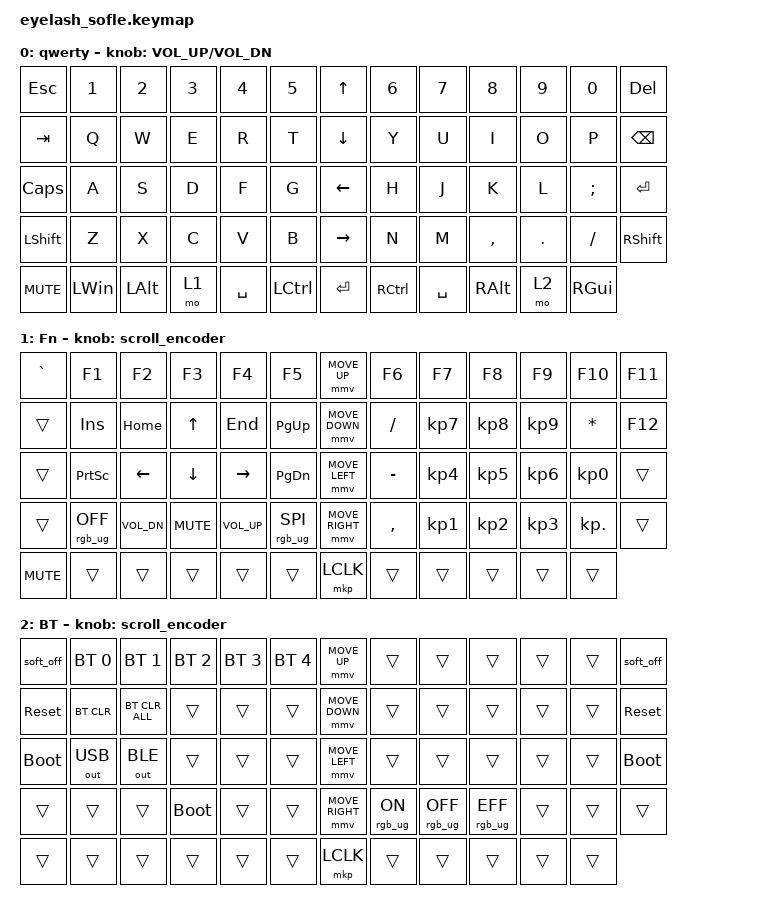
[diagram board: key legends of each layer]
#define ZMK_POINTING_DEFAULT_MOVE_VAL 1200  // 600
#define ZMK_POINTING_DEFAULT_SCRL_VAL 25    // 10

#include <input/processors.dtsi>
#include <zephyr/dt-bindings/input/input-event-codes.h>
#include <behaviors.dtsi>
#include <dt-bindings/zmk/bt.h>
#include <dt-bindings/zmk/ext_power.h>
#include <dt-bindings/zmk/keys.h>
#include <dt-bindings/zmk/pointing.h>
#include <dt-bindings/zmk/rgb.h>
#include <dt-bindings/zmk/outputs.h>

&mmv_input_listener { input-processors = <&zip_xy_scaler 2 1>; };

&msc_input_listener { input-processors = <&zip_scroll_scaler 2 1>; };

&msc {
    acceleration-exponent = <1>;      // 0
    time-to-max-speed-ms = <100>;       // 300
    delay-ms = <0>;                   // 0
};

&mmv {
    time-to-max-speed-ms = <500>;
    acceleration-exponent = <1>;
    trigger-period-ms = <16>;
};

/ {
    scroll_encoder: scroll_encoder {
        compatible = "zmk,behavior-sensor-rotate";
        #sensor-binding-cells = <0>;
        bindings = <&msc SCRL_DOWN>, <&msc SCRL_UP>;

        tap-ms = <100>;
    };

    keymap {
        compatible = "zmk,keymap";

        layer0 {
            bindings = <
&kp ESC     &kp N1        &kp N2        &kp N3  &kp N4     &kp N5       &kp UP_ARROW     &kp N6     &kp N7     &kp N8     &kp N9   &kp N0    &kp DELETE
&kp TAB     &kp Q         &kp W         &kp E   &kp R      &kp T        &kp DOWN_ARROW   &kp Y      &kp U      &kp I      &kp O    &kp P     &kp BACKSPACE
&kp CAPS    &kp A         &kp S         &kp D   &kp F      &kp G        &kp LEFT_ARROW   &kp H      &kp J      &kp K      &kp L    &kp SEMI  &kp ENTER
&kp LSHFT   &kp Z         &kp X         &kp C   &kp V      &kp B        &kp RIGHT_ARROW  &kp N      &kp M      &kp COMMA  &kp DOT  &kp FSLH  &kp RIGHT_SHIFT
&kp C_MUTE  &kp LEFT_WIN  &kp LEFT_ALT  &mo 1   &kp SPACE  &kp LCTRL    &kp ENTER        &kp RCTRL  &kp SPACE  &kp RALT   &mo 2    &kp RGUI
            >;

            sensor-bindings = <&inc_dec_kp C_VOLUME_UP C_VOL_DN>;
            display-name = "qwerty";
        };

        layer_1 {
            bindings = <
&kp GRAVE   &kp F1           &kp F2          &kp F3          &kp F4           &kp F5             &mmv MOVE_UP     &kp F6     &kp F7     &kp F8     &kp F9           &kp F10       &kp F11
&trans      &kp INS          &kp HOME        &kp UP_ARROW    &kp END          &kp PG_UP          &mmv MOVE_DOWN   &kp SLASH  &kp KP_N7  &kp KP_N8  &kp KP_N9        &kp ASTERISK  &kp F12
&trans      &kp PSCRN        &kp LEFT_ARROW  &kp DOWN_ARROW  &kp RIGHT_ARROW  &kp PG_DN          &mmv MOVE_LEFT   &kp MINUS  &kp KP_N4  &kp KP_N5  &kp KP_N6        &kp KP_N0     &trans
&trans      &rgb_ug RGB_OFF  &kp C_VOL_DN    &kp C_MUTE      &kp C_VOLUME_UP  &rgb_ug RGB_SPI    &mmv MOVE_RIGHT  &kp COMMA  &kp KP_N1  &kp KP_N2  &kp KP_NUMBER_3  &kp KP_DOT    &trans
&kp C_MUTE  &trans           &trans          &trans          &trans           &trans             &mkp LCLK        &trans     &trans     &trans     &trans           &trans
            >;

            display-name = "Fn";
            sensor-bindings = <&scroll_encoder>;
        };

        layer_2 {
            bindings = <
&soft_off    &bt BT_SEL 0  &bt BT_SEL 1    &bt BT_SEL 2  &bt BT_SEL 3  &bt BT_SEL 4    &mmv MOVE_UP     &trans          &trans           &trans           &trans  &trans  &soft_off
&sys_reset   &bt BT_CLR    &bt BT_CLR_ALL  &trans        &trans        &trans          &mmv MOVE_DOWN   &trans          &trans           &trans           &trans  &trans  &sys_reset
&bootloader  &out OUT_USB  &out OUT_BLE    &trans        &trans        &trans          &mmv MOVE_LEFT   &trans          &trans           &trans           &trans  &trans  &bootloader
&trans       &trans        &trans          &bootloader   &trans        &trans          &mmv MOVE_RIGHT  &rgb_ug RGB_ON  &rgb_ug RGB_OFF  &rgb_ug RGB_EFF  &trans  &trans  &trans
&trans       &trans        &trans          &trans        &trans        &trans          &mkp LCLK        &trans          &trans           &trans           &trans  &trans
            >;

            display-name = "BT";
            sensor-bindings = <&scroll_encoder>;
        };
    };
};
